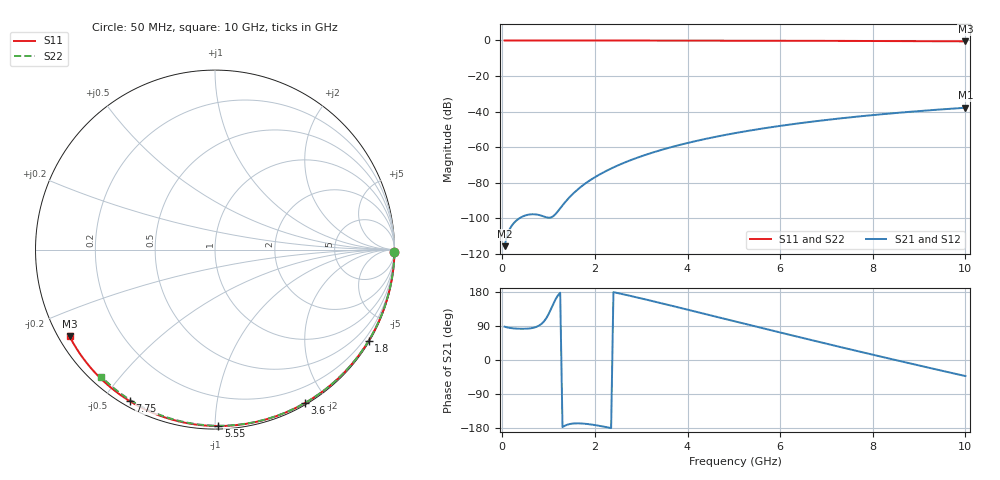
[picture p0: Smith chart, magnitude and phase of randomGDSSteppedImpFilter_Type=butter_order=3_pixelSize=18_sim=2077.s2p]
! freq	dB(S11)	phase(S11)	dB(S12)	phase(S12)
!  dB(S21)	phase(S21)	dB(S22)	phase(S22)
!S-par simulation data
#  GHz  S  DB  R 50
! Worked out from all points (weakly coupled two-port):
!   200 points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, 50 MHz to 10 GHz, reference 50 ohm
!   highest |S21| = -37.86 dB at 10 GHz (marker M1); lowest = -115.7 dB at 50 MHz (marker M2)
!   lowest |S11| = -0.5 dB at 10 GHz (marker M3), VSWR 34.49, Z = 1.56 - j13.8 ohm
!   |S11| at or under -10 dB: nowhere
!   |S22| runs from -0.4 to 0.0 dB; largest |S21 - S12| = 0
!   S11 on the Smith chart (normalised r, x): 50 MHz: open; 1.8 GHz: 0.03, -3.65; 3.6 GHz: 0.02, -1.74; 5.55 GHz: 0.02, -1.02; 7.75 GHz: 0.02, -0.59; 10 GHz: 0.03, -0.28
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0.05  -0.00 -0.9  -115.74 87.9  -115.74 87.9  -0.00 -0.8
0.45  -0.01 -7.8  -98.93 82.3  -98.93 82.3  -0.01 -6.9
0.9  -0.02 -15.5  -99.08 101.9  -99.08 101.9  -0.02 -13.7
1.3  -0.03 -22.3  -92.78 -177.2  -92.78 -177.2  -0.02 -19.6
1.75  -0.04 -29.8  -81.31 -167.9  -81.31 -167.9  -0.03 -26.3
1.8  -0.04 -30.7  -80.35 -168.4  -80.35 -168.4  -0.03 -27.1
1.85  -0.04 -31.5  -79.45 -169.1  -79.45 -169.1  -0.04 -27.8
2.05  -0.04 -34.8  -76.16 -172.7  -76.16 -172.7  -0.04 -30.7
2.2  -0.05 -37.3  -74.01 -176.0  -74.01 -176.0  -0.04 -32.9
2.5  -0.05 -42.2  -70.26 176.4  -70.26 176.4  -0.05 -37.3
2.9  -0.06 -48.7  -66.10 165.4  -66.10 165.4  -0.06 -43.0
3.4  -0.08 -56.6  -61.85 150.8  -61.85 150.8  -0.07 -50.1
3.6  -0.08 -59.8  -60.36 144.9  -60.36 144.9  -0.07 -52.9
4.3  -0.10 -70.5  -55.89 123.8  -55.89 123.8  -0.09 -62.5
5.05  -0.13 -81.7  -52.02 101.2  -52.02 101.2  -0.11 -72.5
5.55  -0.15 -88.9  -49.82 86.1  -49.82 86.1  -0.13 -79.0
6.1  -0.17 -96.7  -47.69 69.6  -47.69 69.6  -0.15 -85.9
6.7  -0.21 -105.1  -45.65 51.8  -45.65 51.8  -0.18 -93.4
7.75  -0.28 -119.3  -42.62 21.1  -42.62 21.1  -0.24 -106.0
8.35  -0.33 -127.3  -41.15 3.9  -41.15 3.9  -0.29 -113.0
9.2  -0.41 -138.5  -39.33 -20.1  -39.33 -20.1  -0.36 -122.7
10  -0.50 -149.1  -37.86 -42.4  -37.86 -42.4  -0.45 -131.8
